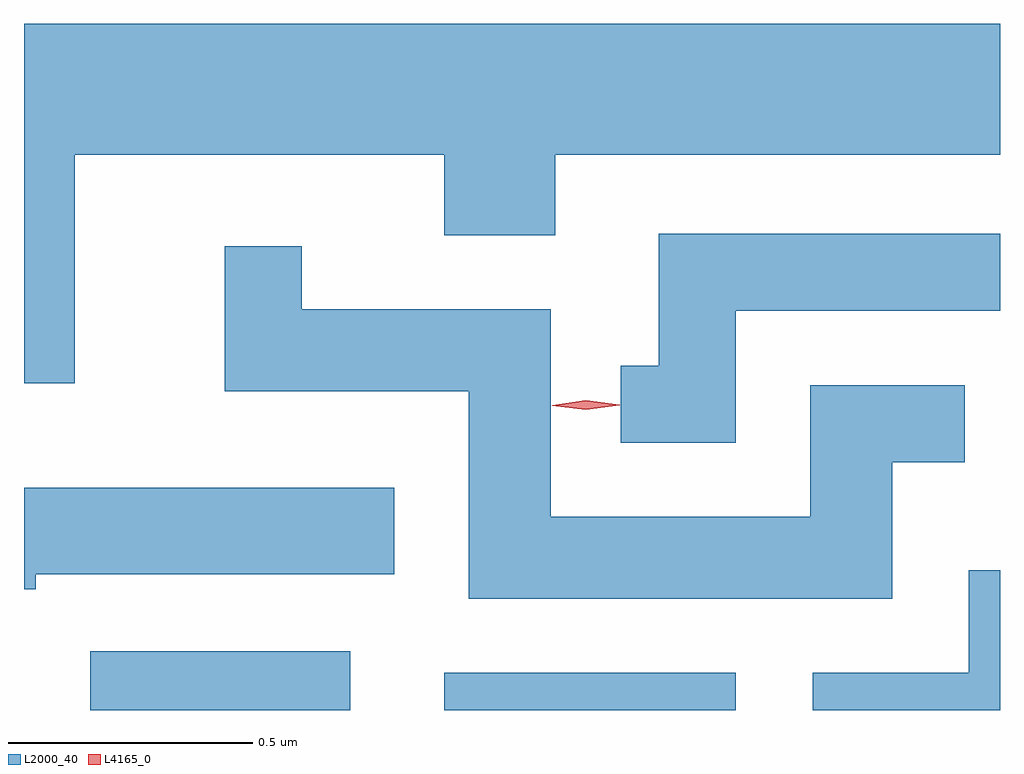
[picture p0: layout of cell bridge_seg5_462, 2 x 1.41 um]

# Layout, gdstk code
import gdstk
lib = gdstk.Library(unit=1e-6, precision=1e-09)
def R(c, l, rs):  # rectangles x0, y0, x1, y1
    for r in rs: c.add(gdstk.rectangle(r[:2], r[2:], *l))
def P(c, l, *ps):  # polygons
    for p in ps: c.add(gdstk.Polygon(p, *l))
L2000_40 = (2000, 40)
L4165_0 = (4165, 0)

bridge_seg5_462 = lib.new_cell('bridge_seg5_462')
R(bridge_seg5_462, L2000_40, [(368.446,1504.498,368.979,1504.619), (369.171,1504.498,369.769,1504.574)])
P(bridge_seg5_462, L2000_40, [(368.414,1505.636),(369.171,1505.636),(369.171,1505.471),(369.399,1505.471),(369.399,1505.636),(370.31,1505.636),(370.31,1505.904),(368.31,1505.904),(368.31,1505.168),(368.414,1505.168)],
  [(369.769,1505.316),(370.31,1505.316),(370.31,1505.474),(369.611,1505.474),(369.611,1505.204),(369.533,1505.204),(369.533,1505.046),(369.769,1505.046)],
  [(370.089,1505.006),(370.238,1505.006),(370.238,1505.164),(369.921,1505.164),(369.921,1504.894),(369.389,1504.894),(369.389,1505.319),(368.879,1505.319),(368.879,1505.448),(368.721,1505.448),(368.721,1505.151),(369.221,1505.151),(369.221,1504.726),(370.089,1504.726)],
  [(368.334,1504.776),(369.069,1504.776),(369.069,1504.954),(368.31,1504.954),(368.31,1504.746),(368.334,1504.746)],
  [(370.31,1504.784),(370.246,1504.784),(370.246,1504.574),(369.926,1504.574),(369.926,1504.498),(370.31,1504.498)])
P(bridge_seg5_462, L4165_0, [(369.461,1505.113),(369.392,1505.122),(369.392,1505.123),(369.392,1505.123),(369.461,1505.133),(369.531,1505.124),(369.531,1505.124),(369.531,1505.123)])

lib.write_gds('bridge_seg5_462.gds')
